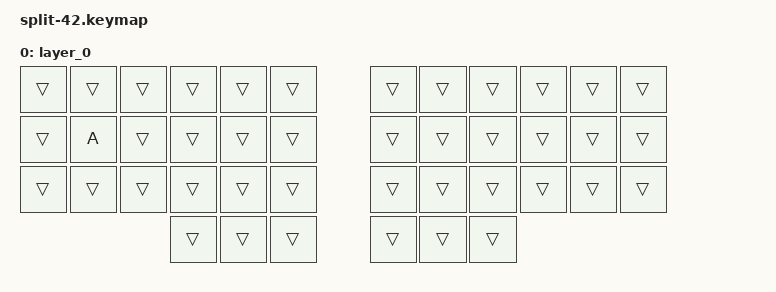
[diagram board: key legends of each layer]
#include <behaviors.dtsi>
#include <dt-bindings/zmk/keys.h>

/ {
    keymap {
        compatible = "zmk,keymap";

        layer_0 {
            bindings = <
&trans  &trans  &trans  &trans  &trans  &trans    &trans  &trans  &trans  &trans  &trans  &trans
&trans  &kp A   &trans  &trans  &trans  &trans    &trans  &trans  &trans  &trans  &trans  &trans
&trans  &trans  &trans  &trans  &trans  &trans    &trans  &trans  &trans  &trans  &trans  &trans
                        &trans  &trans  &trans    &trans  &trans  &trans
            >;
        };
    };
};
